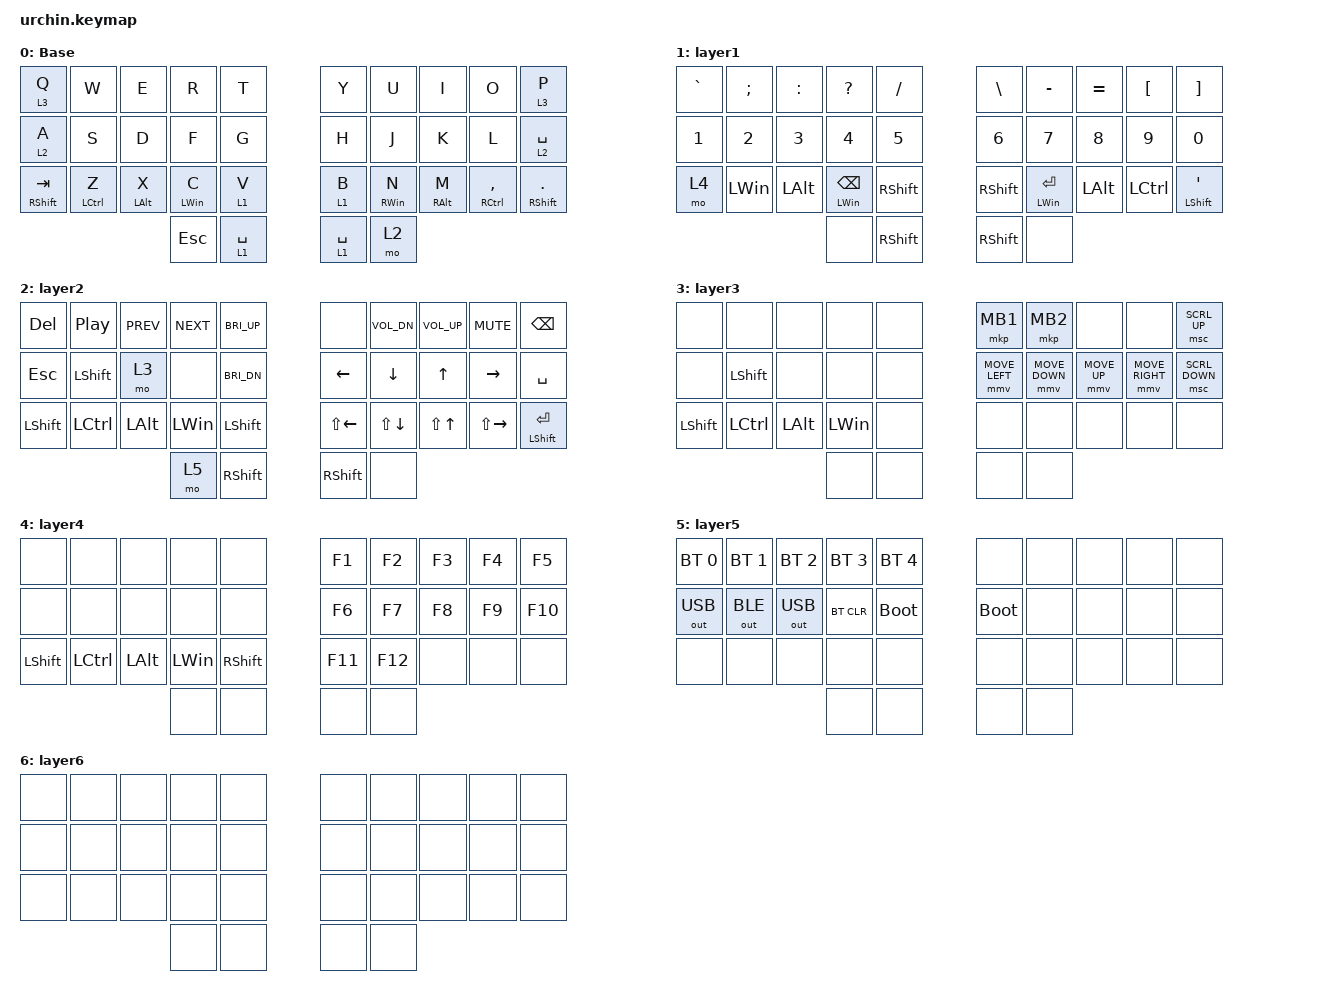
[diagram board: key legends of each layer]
/*
 * Copyright (c) 2020 duckyb
 *
 * SPDX-License-Identifier: MIT
 */

#include <behaviors.dtsi>
#include <dt-bindings/zmk/keys.h>
#include <dt-bindings/zmk/bt.h>
#include <dt-bindings/zmk/outputs.h>
#include <dt-bindings/zmk/pointing.h>
//#include "keymap_french.h"


// Layer definitions
/*
#define BASE 0
#define SHT 1
#define ACCENT 2
#define NUM 3
#define EXT 4
#define FNC 5
#define SETTINGS 6
*/
// -----------------

	
&sk {
	// don't release mods on other mods presses
	ignore-modifiers;
};


/ {
      behaviors {
          mt: mod_tap {
            flavor = "balanced";
            tapping-term-ms = <250>;
          };
      };


	keymap {
		compatible = "zmk,keymap";
		// Base alpha layer
		default_layer {
			display-name = "Base";
			bindings = <
            &lt 3 Q        &kp W        &kp E       &kp R       &kp T           &kp Y       &kp U        &kp I       &kp O          &lt 3 P
            &lt 2 A        &kp S        &kp D       &kp F       &kp G           &kp H       &kp J        &kp K       &kp L          &lt 2 SPACE
            &mt RSHFT TAB  &mt LCTRL Z  &mt LALT X  &mt LWIN C  &lt 1 V		&lt 1 B     &mt RWIN N   &mt RALT M  &mt RCTL COMMA &mt RSHFT DOT
						    &kp ESC	&lt 1 SPACE     &lt 1 SPACE &mo 2
			>;
		};
		fn1_layer {
			display-name = "layer1";
			bindings = <
            &kp GRAVE &kp SEMI  &kp COLON &kp QMARK       &kp SLASH             &kp BSLH         &kp MINUS           &kp EQUAL      &kp LBKT       &kp RBKT
            &kp N1    &kp N2    &kp N3    &kp N4          &kp N5                &kp N6           &kp N7              &kp N8         &kp N9         &kp N0
            &mo 4     &kp LWIN  &kp LALT  &mt LWIN BSPC   &kp RSHFT             &kp RSHFT        &mt LWIN ENTER      &kp LALT       &kp LCTRL      &mt LSHFT SQT
					  &none           &kp RSHFT             &kp RSHFT        &none
			>;
		};
		fn2_layer {
			display-name = "layer2";
			bindings = <
            &kp DEL    &kp C_PP	  &kp C_PREV &kp C_NEXT   &kp C_BRI_UP          &none        &kp C_VOL_DN  &kp C_VOL_UP &kp C_MUTE    &kp BSPC
            &kp ESC    &kp LSHFT  &mo 3      &none        &kp C_BRI_DN          &kp LEFT     &kp DOWN      &kp UP       &kp RIGHT     &kp SPACE
            &kp LSHFT  &kp LCTRL  &kp LALT   &kp LWIN     &kp LSHFT           &kp LS(LEFT) &kp LS(DOWN)  &kp LS(UP)   &kp LS(RIGHT) &mt LSHFT ENTER
					     &mo 5        &kp RSHFT           &kp RSHFT    &none
			>;
		};
		// Numbers and high frequency symbols
		fn3_layer {
			display-name = "layer3";
			bindings = <
	    &none     &none     &none    &none      &none	      &mkp MB1	     &mkp MB2        &none         &none            &msc SCRL_UP
            &none     &kp LSHFT &none    &none      &none	      &mmv MOVE_LEFT &mmv MOVE_DOWN  &mmv MOVE_UP  &mmv MOVE_RIGHT  &msc SCRL_DOWN
            &kp LSHFT &kp LCTRL &kp LALT &kp LWIN   &none	      &none          &none           &none         &none            &none
					 &none      &none             &none          &none
			>;
		};

		// Function keys with modifiers
		fn4_layer {
			display-name = "layer4";
			bindings = <
            &none     &none     &none    &none      &none	      &kp F1   &kp F2  &kp F3  &kp F4  &kp F5
            &none     &none     &none    &none      &none             &kp F6   &kp F7  &kp F8  &kp F9  &kp F10
            &kp LSHFT &kp LCTRL &kp LALT &kp LWIN   &kp RSHFT	      &kp F11  &kp F12 &none   &none   &none
					 &none      &none             &none    &none
			>;
		};

		// Main modifiers and arrow keys
		fn5_layer {
			display-name = "layer5";
			bindings = <
            &bt BT_SEL 0   &bt BT_SEL 1   &bt BT_SEL 2   &bt BT_SEL 3   &bt BT_SEL 4    	   &none        &none  &none  &none  &none
            &out OUT_USB   &out OUT_BLE   &out OUT_USB   &bt BT_CLR     &bootloader		   &bootloader  &none  &none  &none  &none
            &none          &none          &none          &none          &none    		   &none        &none  &none  &none  &none
							 &none          &none                      &none        &none
			>;
		};


		fn6_layer {
				display-name = "layer6";
				bindings = <
            &none   &none   &none   &none    &none   &none   &none   &none   &none   &none  
            &none   &none   &none   &none    &none   &none   &none   &none   &none   &none  
            &none   &none   &none   &none    &none   &none   &none   &none   &none   &none      
						&none &none &none &none
				>;
		};
	};
};
